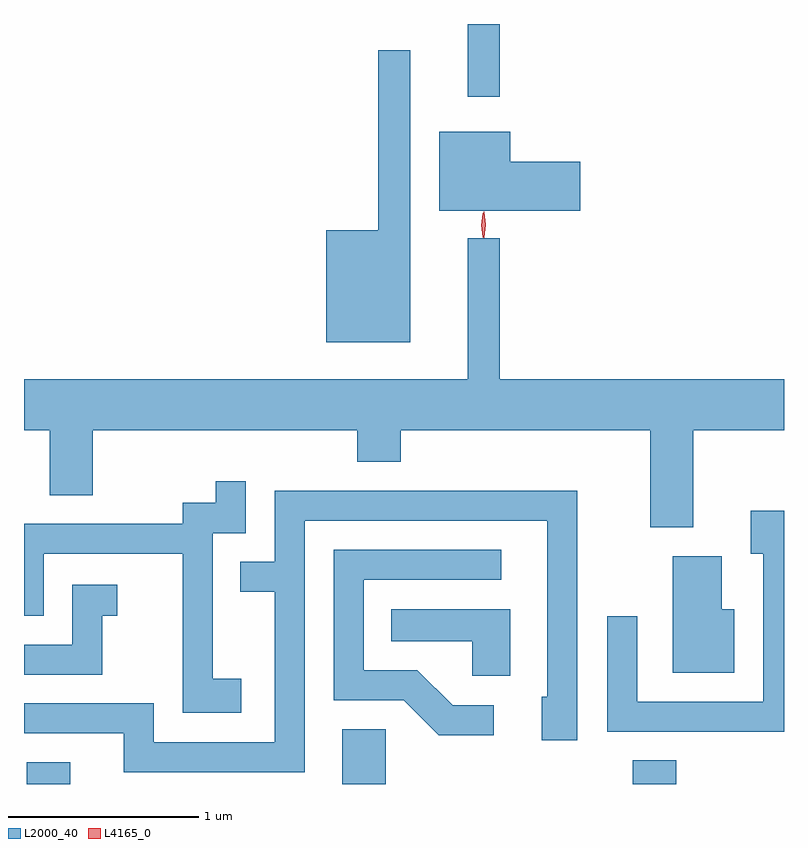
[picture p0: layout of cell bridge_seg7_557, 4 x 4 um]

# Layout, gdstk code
import gdstk
lib = gdstk.Library(unit=1e-6, precision=1e-09)
def R(c, l, rs):  # rectangles x0, y0, x1, y1
    for r in rs: c.add(gdstk.rectangle(r[:2], r[2:], *l))
def P(c, l, *ps):  # polygons
    for p in ps: c.add(gdstk.Polygon(p, *l))
L2000_40 = (2000, 40)
L4165_0 = (4165, 0)

bridge_seg7_557 = lib.new_cell('bridge_seg7_557')
R(bridge_seg7_557, L2000_40, [(989.211,1739.095,989.439,1739.209), (990.871,1739.095,991.099,1739.384), (992.401,1739.095,992.629,1739.219), (991.531,1742.713,991.699,1743.095)])
P(bridge_seg7_557, L2000_40, [(991.229,1742.958),(991.061,1742.958),(991.061,1742.009),(990.786,1742.009),(990.786,1741.421),(991.229,1741.421)],
  [(992.124,1742.369),(991.754,1742.369),(991.754,1742.529),(991.381,1742.529),(991.381,1742.111),(992.124,1742.111)],
  [(992.719,1740.956),(993.196,1740.956),(993.196,1741.224),(991.699,1741.224),(991.699,1741.968),(991.531,1741.968),(991.531,1741.224),(989.196,1741.224),(989.196,1740.956),(989.331,1740.956),(989.331,1740.616),(989.559,1740.616),(989.559,1740.956),(990.951,1740.956),(990.951,1740.791),(991.179,1740.791),(991.179,1740.956),(992.491,1740.956),(992.491,1740.446),(992.719,1740.446)],
  [(990.339,1739.649),(990.189,1739.649),(990.189,1740.416),(990.364,1740.416),(990.364,1740.688),(990.206,1740.688),(990.206,1740.574),(990.031,1740.574),(990.031,1740.464),(989.196,1740.464),(989.196,1739.981),(989.299,1739.981),(989.299,1740.306),(990.031,1740.306),(990.031,1739.471),(990.339,1739.471)],
  [(990.674,1740.481),(991.951,1740.481),(991.951,1739.554),(991.921,1739.554),(991.921,1739.326),(992.109,1739.326),(992.109,1740.639),(990.516,1740.639),(990.516,1740.264),(990.333,1740.264),(990.333,1740.106),(990.516,1740.106),(990.516,1739.314),(989.879,1739.314),(989.879,1739.519),(989.196,1739.519),(989.196,1739.361),(989.721,1739.361),(989.721,1739.156),(990.674,1739.156)],
  [(993.196,1740.534),(993.021,1740.534),(993.021,1740.306),(993.086,1740.306),(993.086,1739.529),(992.424,1739.529),(992.424,1739.978),(992.266,1739.978),(992.266,1739.371),(993.196,1739.371)],
  [(991.668,1739.509),(991.452,1739.509),(991.267,1739.694),(990.984,1739.694),(990.984,1740.171),(991.708,1740.171),(991.708,1740.329),(990.826,1740.329),(990.826,1739.536),(991.194,1739.536),(991.379,1739.351),(991.668,1739.351)],
  [(992.934,1740.014),(992.869,1740.014),(992.869,1740.294),(992.611,1740.294),(992.611,1739.681),(992.934,1739.681)],
  [(989.609,1739.981),(989.688,1739.981),(989.688,1740.144),(989.451,1740.144),(989.451,1739.829),(989.196,1739.829),(989.196,1739.671),(989.609,1739.671)],
  [(991.754,1740.014),(991.128,1740.014),(991.128,1739.846),(991.556,1739.846),(991.556,1739.666),(991.754,1739.666)])
P(bridge_seg7_557, L4165_0, [(991.611,1741.973),(991.602,1742.036),(991.611,1742.099),(991.611,1742.1),(991.612,1742.099),(991.622,1742.036),(991.612,1741.973),(991.612,1741.973)],
  [(991.617,1741.97),(991.617,1741.97),(991.607,1742.038),(991.617,1742.106),(991.617,1742.106),(991.618,1742.106),(991.627,1742.038),(991.618,1741.97)])

lib.write_gds('bridge_seg7_557.gds')
